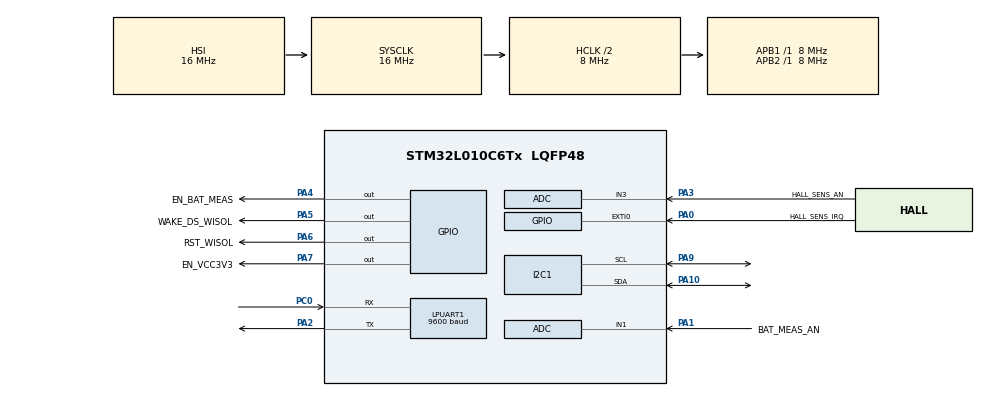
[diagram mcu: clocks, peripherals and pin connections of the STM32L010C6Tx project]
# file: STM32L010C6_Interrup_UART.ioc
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I2C1.Timing=0x2000090E
LPUART1.BaudRate=9600
LPUART1.WordLength=UART_WORDLENGTH_8B
Mcu.Family=STM32L0
Mcu.Name=STM32L010C6Tx
Mcu.Package=LQFP48
NVIC.EXTI0_1_IRQn=true\:0\:0\:false\:false\:true\:true\:true
NVIC.LPUART1_IRQn=true\:0\:0\:false\:false\:true\:true\:true
NVIC.RTC_IRQn=true\:0\:0\:false\:false\:true\:true\:true
PA0.GPIO_Label=HALL_SENS_IRQ
PA0.GPIO_PuPd=GPIO_PULLUP
PA0.Signal=GPXTI0
PA1.GPIO_Label=BAT_MEAS_AN
PA1.Mode=IN1
PA1.Signal=ADC_IN1
PA10.Mode=I2C
PA10.Signal=I2C1_SDA
PA13.Mode=Serial_Wire
PA13.Signal=SYS_SWDIO
PA14.Mode=Serial_Wire
PA14.Signal=SYS_SWCLK
PA2.Mode=Asynchronous
PA2.Signal=LPUART1_TX
PA3.GPIO_Label=HALL_SENS_AN
PA3.Mode=IN3
PA3.Signal=ADC_IN3
PA4.GPIO_Label=EN_BAT_MEAS
PA4.GPIO_ModeDefaultOutputPP=GPIO_MODE_OUTPUT_PP
PA4.GPIO_PuPd=GPIO_PULLUP
PA4.Signal=GPIO_Output
PA5.GPIO_Label=WAKE_DS_WISOL
PA5.GPIO_PuPd=GPIO_PULLUP
PA5.PinState=GPIO_PIN_SET
PA5.Signal=GPIO_Output
PA6.GPIO_Label=RST_WISOL
PA6.GPIO_PuPd=GPIO_PULLUP
PA6.PinState=GPIO_PIN_SET
PA6.Signal=GPIO_Output
PA7.GPIO_Label=EN_VCC3V3
PA7.GPIO_PuPd=GPIO_PULLUP
PA7.Signal=GPIO_Output
PA9.Mode=I2C
PA9.Signal=I2C1_SCL
PC0.Mode=Asynchronous
PC0.Signal=LPUART1_RX
PC14-OSC32_IN.Mode=LSE-External-Oscillator
PC14-OSC32_IN.Signal=RCC_OSC32_IN
PC15-OSC32_OUT.Mode=LSE-External-Oscillator
PC15-OSC32_OUT.Signal=RCC_OSC32_OUT
ProjectManager.HeapSize=0x200
ProjectManager.StackSize=0x400
ProjectManager.TargetToolchain=STM32CubeIDE
RCC.ADCFreq_Value=16000000
RCC.AHBCLKDivider=RCC_SYSCLK_DIV2
RCC.AHBFreq_Value=8000000
RCC.APB1Freq_Value=8000000
RCC.APB1TimFreq_Value=8000000
RCC.APB2Freq_Value=8000000
RCC.APB2TimFreq_Value=8000000
RCC.HCLKFreq_Value=8000000
RCC.HSE_VALUE=8000000
RCC.HSI16_VALUE=16000000
RCC.HSI_VALUE=16000000
RCC.LptimClockSelection=RCC_LPTIM1CLKSOURCE_LSE
RCC.Lpuart1ClockSelection=RCC_LPUART1CLKSOURCE_LSE
RCC.MSI_VALUE=2097000
RCC.RTCClockSelectionVirtual=RCC_RTCCLKSOURCE_LSE
RCC.SYSCLKFreq_VALUE=16000000
RCC.SYSCLKSource=RCC_SYSCLKSOURCE_HSI
RCC.VCOOutputFreq_Value=48000000
RTC.Alarm-Alarm\ A=RTC_ALARM_A
RTC.AlarmMaskDateWeekDay-Alarm\ A=RTC_ALARMMASK_DATEWEEKDAY
RTC.AlarmMaskHours-Alarm\ A=RTC_ALARMMASK_HOURS
VP_RTC_VS_RTC_Activate.Mode=RTC_Enabled
VP_RTC_VS_RTC_Alarm_A_Intern.Mode=Alarm A
VP_RTC_VS_RTC_Calendar.Mode=RTC_Calendar
board=custom

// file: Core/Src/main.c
/* USER CODE BEGIN Header */
/**
  ******************************************************************************
  * @file           : main.c
  * @brief          : Main program body
  ******************************************************************************
  * @attention
  *
  * <h2><center>&copy; Copyright (c) 2020 STMicroelectronics.
  * All rights reserved.</center></h2>
  *
  * This software component is licensed by ST under BSD 3-Clause license,
  * the "License"; You may not use this file except in compliance with the
  * License. You may obtain a copy of the License at:
  *                        opensource.org/licenses/BSD-3-Clause
  *
  ******************************************************************************
  */
/* USER CODE END Header */

#include "main.h"

/* USER CODE BEGIN Includes */
#include <time.h>
#include <stdio.h>
#include <stdlib.h>
#include <string.h>
typedef enum
{
	FALSE=0,
	TRUE=1
	}FLAG_T;
#define SUM_THRD 10
#define DATA_LOCA	5
#define VOLT_LOCA 9
#define VERSION_LOCA 1
int HOUR_EVERY_MSG = 1;
volatile uint8_t SUM_HOUR;
volatile uint8_t SUM_DEC;
volatile uint8_t SUM_COUNTER;
FLAG_T time_flag;
FLAG_T RTC_UPDATE_STATUS;
FLAG_T UART_OK;
#define version 0x01
uint8_t RX_UART_BUFFER[32];
time_t number = 0;
char timeraw[8];
struct tm ts;
RTC_TimeTypeDef sTime;
/* USER CODE END Includes */

ADC_HandleTypeDef hadc;

I2C_HandleTypeDef hi2c1;

UART_HandleTypeDef hlpuart1;

RTC_HandleTypeDef hrtc;

void SystemClock_Config(void);
static void MX_GPIO_Init(void);
static void MX_ADC_Init(void);
static void MX_I2C1_Init(void);
static void MX_LPUART1_UART_Init(void);
static void MX_RTC_Init(void);
/* USER CODE BEGIN PFP */
static void EXT_Interrup_Init(void);
void TRANSMIT_WSSFM10R2AT_WITH_DOWNLINK(char *, int);
void stm32l_lowPowerSetup(void);
void stm32l_lowPowerResume(void);
void UPDATE_FREQUENCY_MESSAGE(void);
void UPDATE_UTC(void);
void UPDATE_RTC_TIME(void);
FLAG_T CHECK_RECEPTION_OK(void);
void DECODED_TIME(void);
void CASES_CHOICE(char*);
void COUNTER_CONSUMER(void);
void TRANSMIT_WSSFM10R2AT(char * , int);
void TRANSMIT_WSSFM10R2AT_WITH_DOWNLINK(char *, int);
uint32_t CONFIG_CHANNEL_ADC(uint32_t);
uint32_t GET_MEAS_BAT(void);
uint32_t GET_MEAS_HALL(void);
void WAKE_WSSFM10R2AT(void);
void RESET_WSSFM10R2AT(void);
void DEEP_SLEEP_WSSFM10R2AT(void);
void DATA_ASSIGMENT(char* ,uint16_t ,uint8_t ,uint8_t );
void BUILD_DATA_TO_SEND(char*);
/////////////////////////
void stm32l_lowPowerSetup(void)
{
	__HAL_RCC_PWR_CLK_ENABLE(); // Enable Power Control clock
	HAL_PWR_EnableBkUpAccess (); //Enable access to the backup domain (RTC registers, RTC backup data registers).
	HAL_PWREx_EnableUltraLowPower(); // Ultra low power mode
	HAL_PWREx_EnableFastWakeUp(); // Fast wake-up for ultra low power mode
	GPIO_InitTypeDef GPIO_InitStructure = {0};

	  /* Enable GPIOs clock */
	__HAL_RCC_GPIOA_CLK_ENABLE();
	__HAL_RCC_GPIOB_CLK_ENABLE();
	__HAL_RCC_GPIOC_CLK_ENABLE();

	GPIO_InitStructure.Pin = GPIO_PIN_4|GPIO_PIN_5|GPIO_PIN_6|GPIO_PIN_7|GPIO_PIN_13|GPIO_PIN_14;
	GPIO_InitStructure.Mode = GPIO_MODE_ANALOG;
	GPIO_InitStructure.Pull = GPIO_NOPULL;

	HAL_GPIO_Init(GPIOA, &GPIO_InitStructure);

	__HAL_PWR_CLEAR_FLAG(PWR_FLAG_WU);
	HAL_SuspendTick();
	HAL_PWR_EnterSTOPMode(PWR_LOWPOWERREGULATOR_ON, PWR_STOPENTRY_WFI);
}
void stm32l_lowPowerResume(void){
	HAL_ResumeTick();
	SystemClock_Config();
}
void UPDATE_FREQUENCY_MESSAGE(void){
	char hora_ref[1];
	hora_ref[0] = RX_UART_BUFFER[22];
	char frequency_msg[2];
	frequency_msg[0] = RX_UART_BUFFER[23];
	frequency_msg[1] = RX_UART_BUFFER[25];
	int freq;
	int HORA;
	freq = (int)strtol(frequency_msg, NULL, 16);
	HORA = (int)strtol(hora_ref, NULL, 16);
	if ((freq > 0) & (freq <= 24)){
		HOUR_EVERY_MSG = freq;
		if (ts.tm_hour >= HORA){
			SUM_HOUR = (ts.tm_hour - HORA) % HOUR_EVERY_MSG;
		}else{
			SUM_HOUR = (ts.tm_hour - HORA + 24) % HOUR_EVERY_MSG;
		}
	}
}
void UPDATE_UTC(void){
	char utc[1];
	utc[0] = RX_UART_BUFFER[20];
	if ((utc[0] >= '0') | (utc[0] < 'D')){
		if (RX_UART_BUFFER[19] == '0'){
			ts.tm_hour += (int)strtol(utc, NULL, 16);
		}else if (RX_UART_BUFFER[19] == '1'){
			ts.tm_hour =ts.tm_hour - (int)strtol(utc, NULL, 16) + 24;
		}
		ts.tm_hour = ts.tm_hour % 24;
	}
}
void UPDATE_RTC_TIME(void){
    sTime.Hours = ts.tm_hour + (int)(ts.tm_hour/10)*6;
    sTime.Minutes = ts.tm_min + (int)(ts.tm_min/10)*6;
    sTime.Seconds = ts.tm_sec + (int)(ts.tm_sec/10)*6;
    sTime.DayLightSaving = RTC_DAYLIGHTSAVING_NONE;
    sTime.StoreOperation = RTC_STOREOPERATION_RESET;
    if (HAL_RTC_SetTime(&hrtc, &sTime, RTC_FORMAT_BCD) != HAL_OK)
    {
      Error_Handler();
    }
}
FLAG_T CHECK_RECEPTION_OK(void){
    int i;
    FLAG_T UART_OK = TRUE;
    for (i=29;i>=7;i-=3){
        if ((RX_UART_BUFFER[i] < '0') | (RX_UART_BUFFER[i] > 'F')){
            UART_OK = FALSE;
        }
        if ((RX_UART_BUFFER[i-1] < '0') | (RX_UART_BUFFER[i-1] > 'F')){
            UART_OK = FALSE;
        }
    }
    return UART_OK;
}
void DECODED_TIME(void){
	  timeraw[0] = RX_UART_BUFFER[7];
	  timeraw[1] = RX_UART_BUFFER[8];
	  timeraw[2] = RX_UART_BUFFER[10];
	  timeraw[3] = RX_UART_BUFFER[11];
	  timeraw[4] = RX_UART_BUFFER[13];
	  timeraw[5] = RX_UART_BUFFER[14];
	  timeraw[6] = RX_UART_BUFFER[16];
	  timeraw[7] = RX_UART_BUFFER[17];
	  number = (time_t)strtol(timeraw, NULL, 16);
	  ts = *localtime(&number);
}
void HAL_RTC_AlarmAEventCallback(RTC_HandleTypeDef *hrtc)
{
  /* Turn LED2 on: Alarm generation */
  if (SUM_HOUR == HOUR_EVERY_MSG - 1){
	 time_flag = TRUE;
	 SUM_HOUR = 0;
  }else{
	 SUM_HOUR++;
  }
}
void HAL_GPIO_EXTI_Callback(uint16_t GPIO_Pin)
{
  /* Clear Wake Up Flag */
  __HAL_PWR_CLEAR_FLAG(PWR_FLAG_WU);
  COUNTER_CONSUMER();
}
void HAL_UART_RxCpltCallback(UART_HandleTypeDef *huart){
	int i;
	UART_OK = TRUE;
	for (i=29;i>=7;i-=3){
	     if ((RX_UART_BUFFER[i] < '0') | (RX_UART_BUFFER[i] > 'F')){
	         UART_OK = FALSE;
	     }
	     if ((RX_UART_BUFFER[i-1] < '0') | (RX_UART_BUFFER[i-1] > 'F')){
	         UART_OK = FALSE;
	     }
	}
	if (CHECK_RECEPTION_OK() == TRUE){
	     DECODED_TIME();
	     UPDATE_UTC();
	     UPDATE_RTC_TIME();
	     UPDATE_FREQUENCY_MESSAGE();
	}
}
/* USER CODE END PFP */

/* USER CODE BEGIN 0 */

void CASES_CHOICE(char* buff)
{
	unsigned int instruction = 0;
	if ((SUM_COUNTER == 0) || (SUM_COUNTER > SUM_THRD) || (time_flag == TRUE)) instruction = 1;
    switch (instruction)
	{
		case 0:
			break;
		case 1:
			MX_GPIO_Init();
			MX_ADC_Init();
			MX_LPUART1_UART_Init();
			HAL_Delay(30);
			if ((SUM_COUNTER==0) || (SUM_COUNTER > SUM_THRD)){
			   SUM_COUNTER = SUM_THRD;
			}else{
			   time_flag = FALSE;
			}
			BUILD_DATA_TO_SEND(buff);
			SUM_DEC=0;
			WAKE_WSSFM10R2AT();
			if (RTC_UPDATE_STATUS == FALSE){
				TRANSMIT_WSSFM10R2AT_WITH_DOWNLINK(buff,10);
				//HAL_Delay(50000);
				RTC_UPDATE_STATUS = TRUE;
			}else{
				TRANSMIT_WSSFM10R2AT(buff,10);
			}
			DEEP_SLEEP_WSSFM10R2AT();
			break;
	}
}
void COUNTER_CONSUMER(void){
	SUM_DEC++;
	SUM_COUNTER--;
}
void TRANSMIT_WSSFM10R2AT(char * buff, int ArrayLength){
	char AT_COMANDO[10];
	sprintf(AT_COMANDO,"AT$RC\r\n");
	HAL_UART_Transmit(&hlpuart1,(uint8_t*)AT_COMANDO,(uint16_t)strlen(AT_COMANDO),(uint32_t)100);
	HAL_Delay(100);
	sprintf(AT_COMANDO,"AT$SF=");
	HAL_UART_Transmit(&hlpuart1,(uint8_t*)AT_COMANDO,(uint16_t)strlen(AT_COMANDO),(uint32_t)100);
    HAL_UART_Transmit(&hlpuart1,(uint8_t*)buff,(uint16_t)ArrayLength,(uint32_t)100);
    sprintf(AT_COMANDO,"\r\n");
    HAL_UART_Transmit(&hlpuart1,(uint8_t*)AT_COMANDO,(uint16_t)strlen(AT_COMANDO),(uint32_t)100);
    HAL_Delay(100);
}
void TRANSMIT_WSSFM10R2AT_WITH_DOWNLINK(char * buff, int ArrayLength)
{
	char AT[21];
	sprintf(AT,"AT$RC\r\n");
	HAL_UART_Transmit(&hlpuart1,(uint8_t*)AT,(uint16_t)strlen(AT),(uint32_t)100);
	HAL_UART_Receive(&hlpuart1, RX_UART_BUFFER, 20, 1000);
	HAL_Delay(100);
	sprintf(AT,"AT$SF=");
	HAL_UART_Transmit(&hlpuart1,(uint8_t*)AT,(uint16_t)strlen(AT),(uint32_t)100);
	HAL_UART_Transmit(&hlpuart1,(uint8_t*)buff,(uint16_t)ArrayLength,(uint32_t)100);
    sprintf(AT,",1\r\n");
    HAL_UART_Transmit(&hlpuart1,(uint8_t*)AT,(uint16_t)strlen(AT),(uint32_t)100);
	HAL_UART_Receive_IT(&hlpuart1, RX_UART_BUFFER, 32);
	HAL_Delay(100);
	UART_WakeUpTypeDef wakeup;
	wakeup.WakeUpEvent=UART_WAKEUP_ON_STARTBIT; // UART_WAKEUP_ON_READDATA_NONEMPTY
	HAL_UARTEx_StopModeWakeUpSourceConfig(&hlpuart1,wakeup);
	__HAL_UART_ENABLE_IT(&hlpuart1, UART_IT_WUF);
	HAL_UARTEx_EnableStopMode(&hlpuart1);
}
uint32_t CONFIG_CHANNEL_ADC(uint32_t channel){
	ADC_ChannelConfTypeDef sConfig;
	sConfig.Channel = channel;
	sConfig.Rank = ADC_RANK_CHANNEL_NUMBER;
	HAL_ADC_ConfigChannel(&hadc, &sConfig);
	uint32_t raw = 0;
	HAL_ADC_Start(&hadc);
	HAL_ADC_PollForConversion(&hadc, 100);
	raw = HAL_ADC_GetValue(&hadc);
	HAL_ADC_Stop(&hadc);
	sConfig.Rank = ADC_RANK_NONE;
	HAL_ADC_ConfigChannel(&hadc, &sConfig);
	return raw;
}
uint32_t GET_MEAS_BAT(void){
	uint32_t bat;
	HAL_GPIO_WritePin(GPIOA, EN_BAT_MEAS_Pin, GPIO_PIN_SET);
	HAL_Delay(50);
	bat = CONFIG_CHANNEL_ADC(ADC_CHANNEL_1)*6200/4095;
	HAL_GPIO_WritePin(GPIOA, EN_BAT_MEAS_Pin, GPIO_PIN_RESET);
	return bat;
}
uint32_t GET_MEAS_HALL(void){
	uint32_t hall;
	HAL_GPIO_WritePin(GPIOA, EN_VCC3V3_Pin, GPIO_PIN_SET);
	HAL_Delay(50);
	hall = CONFIG_CHANNEL_ADC(ADC_CHANNEL_3)*3100/4095;
	HAL_GPIO_WritePin(GPIOA, EN_VCC3V3_Pin, GPIO_PIN_RESET);
	return hall;
}
void WAKE_WSSFM10R2AT(void)
{
	HAL_GPIO_WritePin(WAKE_DS_WISOL_GPIO_Port, WAKE_DS_WISOL_Pin, GPIO_PIN_RESET);
	HAL_Delay(100);
	HAL_GPIO_WritePin(WAKE_DS_WISOL_GPIO_Port, WAKE_DS_WISOL_Pin, GPIO_PIN_SET);
	HAL_Delay(500);  // Wait for the wisol to be prepared
}
void RESET_WSSFM10R2AT(void)
{
	HAL_GPIO_WritePin(RST_WISOL_GPIO_Port, RST_WISOL_Pin, GPIO_PIN_RESET);
	HAL_Delay(500);
	HAL_GPIO_WritePin(RST_WISOL_GPIO_Port, RST_WISOL_Pin, GPIO_PIN_SET);
}
void DEEP_SLEEP_WSSFM10R2AT(void)
{
	char AT[10];
	sprintf(AT,"AT$P=2\r\n");
	HAL_UART_Transmit(&hlpuart1,(uint8_t*)AT,(uint16_t)strlen(AT),(uint32_t)100);
	HAL_Delay(100);
}
void DATA_ASSIGMENT(char* buff,uint16_t s,uint8_t loc,uint8_t t)
{
	uint8_t i;//Data position counter
	uint8_t j=0;//Conversion data position counter
	uint8_t dig_count=0;//Digit Counter
	char conversion_buff[5];
	memset(conversion_buff,'\0',5);
	itoa(s,conversion_buff,t);//Convert int S to String in HEX
	while(conversion_buff[dig_count] != '\0') ++dig_count;//Converted data digit counter function

	for (i = (loc-dig_count)+1; j < dig_count; ++i)//Data arrangement in output buffer
	{
		 buff[i] = conversion_buff[j];
		 ++j;
	}
}
void BUILD_DATA_TO_SEND(char* buff)
{
	memset(buff,'0',10); //Clear memory variable
	DATA_ASSIGMENT(buff,GET_MEAS_BAT(),VOLT_LOCA,16);
	DATA_ASSIGMENT(buff,SUM_DEC,DATA_LOCA,16);
	DATA_ASSIGMENT(buff,version,VERSION_LOCA,16);
}
/* USER CODE END PFP */

/* Private user code ---------------------------------------------------------*/
/* USER CODE BEGIN 0 */

/* USER CODE END 0 */

int main(void)
{
  /* USER CODE BEGIN 1 */
  char data_buff[10];
  SUM_DEC=0;
  SUM_HOUR=0;
  /* USER CODE END 1 */

  /* MCU Configuration--------------------------------------------------------*/

  /* Reset of all peripherals, Initializes the Flash interface and the Systick. */
  HAL_Init();

  /* Configure the system clock */
  SystemClock_Config();

  /* Initialize all configured peripherals */
  MX_GPIO_Init();
  MX_ADC_Init();
  MX_I2C1_Init();
  MX_LPUART1_UART_Init();
  MX_RTC_Init();
  /* USER CODE BEGIN 2 */
  SUM_COUNTER=0;
  RTC_UPDATE_STATUS = FALSE;
  EXT_Interrup_Init();
  HAL_Delay(2000);
  /* USER CODE END 2 */

  /* Infinite loop */
  while (1)
  {
    CASES_CHOICE(data_buff);
    HAL_Delay(50);
	stm32l_lowPowerSetup();
	stm32l_lowPowerResume();
  }
}

void SystemClock_Config(void)
{
  RCC_OscInitTypeDef RCC_OscInitStruct = {0};
  RCC_ClkInitTypeDef RCC_ClkInitStruct = {0};
  RCC_PeriphCLKInitTypeDef PeriphClkInit = {0};

  /** Configure the main internal regulator output voltage
  */
  __HAL_PWR_VOLTAGESCALING_CONFIG(PWR_REGULATOR_VOLTAGE_SCALE1);
  /** Configure LSE Drive Capability
  */
  HAL_PWR_EnableBkUpAccess();
  __HAL_RCC_LSEDRIVE_CONFIG(RCC_LSEDRIVE_LOW);
  /** Initializes the CPU, AHB and APB busses clocks
  */
  RCC_OscInitStruct.OscillatorType = RCC_OSCILLATORTYPE_HSI|RCC_OSCILLATORTYPE_LSE;
  RCC_OscInitStruct.LSEState = RCC_LSE_ON;
  RCC_OscInitStruct.HSIState = RCC_HSI_ON;
  RCC_OscInitStruct.HSICalibrationValue = RCC_HSICALIBRATION_DEFAULT;
  RCC_OscInitStruct.PLL.PLLState = RCC_PLL_NONE;
  if (HAL_RCC_OscConfig(&RCC_OscInitStruct) != HAL_OK)
  {
    Error_Handler();
  }
  /** Initializes the CPU, AHB and APB busses clocks
  */
  RCC_ClkInitStruct.ClockType = RCC_CLOCKTYPE_HCLK|RCC_CLOCKTYPE_SYSCLK
                              |RCC_CLOCKTYPE_PCLK1|RCC_CLOCKTYPE_PCLK2;
  RCC_ClkInitStruct.SYSCLKSource = RCC_SYSCLKSOURCE_HSI;
  RCC_ClkInitStruct.AHBCLKDivider = RCC_SYSCLK_DIV2;
  RCC_ClkInitStruct.APB1CLKDivider = RCC_HCLK_DIV1;
  RCC_ClkInitStruct.APB2CLKDivider = RCC_HCLK_DIV1;

  if (HAL_RCC_ClockConfig(&RCC_ClkInitStruct, FLASH_LATENCY_0) != HAL_OK)
  {
    Error_Handler();
  }
  PeriphClkInit.PeriphClockSelection = RCC_PERIPHCLK_LPUART1|RCC_PERIPHCLK_I2C1
                              |RCC_PERIPHCLK_RTC;
  PeriphClkInit.Lpuart1ClockSelection = RCC_LPUART1CLKSOURCE_LSE;
  PeriphClkInit.I2c1ClockSelection = RCC_I2C1CLKSOURCE_PCLK1;
  PeriphClkInit.RTCClockSelection = RCC_RTCCLKSOURCE_LSE;
  if (HAL_RCCEx_PeriphCLKConfig(&PeriphClkInit) != HAL_OK)
  {
    Error_Handler();
  }
}

static void MX_ADC_Init(void)
{

  ADC_ChannelConfTypeDef sConfig = {0};

  /** Configure the global features of the ADC (Clock, Resolution, Data Alignment and number of conversion)
  */
  hadc.Instance = ADC1;
  hadc.Init.OversamplingMode = DISABLE;
  hadc.Init.ClockPrescaler = ADC_CLOCK_SYNC_PCLK_DIV2;
  hadc.Init.Resolution = ADC_RESOLUTION_12B;
  hadc.Init.SamplingTime = ADC_SAMPLETIME_1CYCLE_5;
  hadc.Init.ScanConvMode = ADC_SCAN_DIRECTION_FORWARD;
  hadc.Init.DataAlign = ADC_DATAALIGN_RIGHT;
  hadc.Init.ContinuousConvMode = DISABLE;
  hadc.Init.DiscontinuousConvMode = DISABLE;
  hadc.Init.ExternalTrigConvEdge = ADC_EXTERNALTRIGCONVEDGE_NONE;
  hadc.Init.ExternalTrigConv = ADC_SOFTWARE_START;
  hadc.Init.DMAContinuousRequests = DISABLE;
  hadc.Init.EOCSelection = ADC_EOC_SINGLE_CONV;
  hadc.Init.Overrun = ADC_OVR_DATA_PRESERVED;
  hadc.Init.LowPowerAutoWait = DISABLE;
  hadc.Init.LowPowerFrequencyMode = DISABLE;
  hadc.Init.LowPowerAutoPowerOff = DISABLE;
  if (HAL_ADC_Init(&hadc) != HAL_OK)
  {
    Error_Handler();
  }
  /** Configure for the selected ADC regular channel to be converted.
  */
  sConfig.Channel = ADC_CHANNEL_1;
  sConfig.Rank = ADC_RANK_CHANNEL_NUMBER;
  if (HAL_ADC_ConfigChannel(&hadc, &sConfig) != HAL_OK)
  {
    Error_Handler();
  }
  /** Configure for the selected ADC regular channel to be converted.
  */
  sConfig.Channel = ADC_CHANNEL_3;
  if (HAL_ADC_ConfigChannel(&hadc, &sConfig) != HAL_OK)
  {
    Error_Handler();
  }

}

static void MX_I2C1_Init(void)
{

  hi2c1.Instance = I2C1;
  hi2c1.Init.Timing = 0x2000090E;
  hi2c1.Init.OwnAddress1 = 0;
  hi2c1.Init.AddressingMode = I2C_ADDRESSINGMODE_7BIT;
  hi2c1.Init.DualAddressMode = I2C_DUALADDRESS_DISABLE;
  hi2c1.Init.OwnAddress2 = 0;
  hi2c1.Init.OwnAddress2Masks = I2C_OA2_NOMASK;
  hi2c1.Init.GeneralCallMode = I2C_GENERALCALL_DISABLE;
  hi2c1.Init.NoStretchMode = I2C_NOSTRETCH_DISABLE;
  if (HAL_I2C_Init(&hi2c1) != HAL_OK)
  {
    Error_Handler();
  }
  /** Configure Analogue filter
  */
  if (HAL_I2CEx_ConfigAnalogFilter(&hi2c1, I2C_ANALOGFILTER_ENABLE) != HAL_OK)
  {
    Error_Handler();
  }
  /** Configure Digital filter
  */
  if (HAL_I2CEx_ConfigDigitalFilter(&hi2c1, 0) != HAL_OK)
  {
    Error_Handler();
  }

}

static void MX_LPUART1_UART_Init(void)
{

  hlpuart1.Instance = LPUART1;
  hlpuart1.Init.BaudRate = 9600;
  hlpuart1.Init.WordLength = UART_WORDLENGTH_8B;
  hlpuart1.Init.StopBits = UART_STOPBITS_1;
  hlpuart1.Init.Parity = UART_PARITY_NONE;
  hlpuart1.Init.Mode = UART_MODE_TX_RX;
  hlpuart1.Init.HwFlowCtl = UART_HWCONTROL_NONE;
  hlpuart1.Init.OneBitSampling = UART_ONE_BIT_SAMPLE_DISABLE;
  hlpuart1.AdvancedInit.AdvFeatureInit = UART_ADVFEATURE_NO_INIT;
  if (HAL_UART_Init(&hlpuart1) != HAL_OK)
  {
    Error_Handler();
  }

}

static void MX_RTC_Init(void)
{

  RTC_TimeTypeDef sTime = {0};
  RTC_DateTypeDef sDate = {0};
  RTC_AlarmTypeDef sAlarm = {0};

  /** Initialize RTC Only
  */
  hrtc.Instance = RTC;
  hrtc.Init.HourFormat = RTC_HOURFORMAT_24;
  hrtc.Init.AsynchPrediv = 127;
  hrtc.Init.SynchPrediv = 255;
  hrtc.Init.OutPut = RTC_OUTPUT_DISABLE;
  hrtc.Init.OutPutRemap = RTC_OUTPUT_REMAP_NONE;
  hrtc.Init.OutPutPolarity = RTC_OUTPUT_POLARITY_HIGH;
  hrtc.Init.OutPutType = RTC_OUTPUT_TYPE_OPENDRAIN;
  if (HAL_RTC_Init(&hrtc) != HAL_OK)
  {
    Error_Handler();
  }

  /** Initialize RTC and set the Time and Date
  */
  sTime.Hours = 0x0;
  sTime.Minutes = 0x0;
  sTime.Seconds = 0x0;
  sTime.DayLightSaving = RTC_DAYLIGHTSAVING_NONE;
  sTime.StoreOperation = RTC_STOREOPERATION_RESET;
  if (HAL_RTC_SetTime(&hrtc, &sTime, RTC_FORMAT_BCD) != HAL_OK)
  {
    Error_Handler();
  }
  sDate.WeekDay = RTC_WEEKDAY_MONDAY;
  sDate.Month = RTC_MONTH_JANUARY;
  sDate.Date = 0x1;
  sDate.Year = 0x0;

  if (HAL_RTC_SetDate(&hrtc, &sDate, RTC_FORMAT_BCD) != HAL_OK)
  {
    Error_Handler();
  }
  /** Enable the Alarm A
  */
  sAlarm.AlarmTime.Hours = 0x0;
  sAlarm.AlarmTime.Minutes = 0x0;
  sAlarm.AlarmTime.Seconds = 0x0;
  sAlarm.AlarmTime.SubSeconds = 0x0;
  sAlarm.AlarmTime.DayLightSaving = RTC_DAYLIGHTSAVING_NONE;
  sAlarm.AlarmTime.StoreOperation = RTC_STOREOPERATION_RESET;
  sAlarm.AlarmMask = RTC_ALARMMASK_DATEWEEKDAY|RTC_ALARMMASK_HOURS;
  sAlarm.AlarmSubSecondMask = RTC_ALARMSUBSECONDMASK_ALL;
  sAlarm.AlarmDateWeekDaySel = RTC_ALARMDATEWEEKDAYSEL_DATE;
  sAlarm.AlarmDateWeekDay = 0x1;
  sAlarm.Alarm = RTC_ALARM_A;
  if (HAL_RTC_SetAlarm_IT(&hrtc, &sAlarm, RTC_FORMAT_BCD) != HAL_OK)
  {
    Error_Handler();
  }

}

static void MX_GPIO_Init(void)
{
  GPIO_InitTypeDef GPIO_InitStruct = {0};

  /* GPIO Ports Clock Enable */
  __HAL_RCC_GPIOC_CLK_ENABLE();
  __HAL_RCC_GPIOA_CLK_ENABLE();

  /*Configure GPIO pin Output Level */
  HAL_GPIO_WritePin(GPIOA, EN_BAT_MEAS_Pin|EN_VCC3V3_Pin, GPIO_PIN_RESET);

  /*Configure GPIO pin Output Level */
  HAL_GPIO_WritePin(GPIOA, WAKE_DS_WISOL_Pin|RST_WISOL_Pin, GPIO_PIN_SET);

  /*Configure GPIO pins : EN_BAT_MEAS_Pin EN_VCC3V3s_Pin */
  GPIO_InitStruct.Pin = EN_BAT_MEAS_Pin|EN_VCC3V3_Pin;
  GPIO_InitStruct.Mode = GPIO_MODE_OUTPUT_PP;
  GPIO_InitStruct.Pull = GPIO_PULLUP;
  GPIO_InitStruct.Speed = GPIO_SPEED_FREQ_LOW;
  HAL_GPIO_Init(GPIOA, &GPIO_InitStruct);

  /*Configure GPIO pins : WAKE_DS_WISOL_Pin RST_WISOL_Pin */
  GPIO_InitStruct.Pin = WAKE_DS_WISOL_Pin|RST_WISOL_Pin;
  GPIO_InitStruct.Mode = GPIO_MODE_OUTPUT_PP;
  GPIO_InitStruct.Pull = GPIO_PULLUP;
  GPIO_InitStruct.Speed = GPIO_SPEED_FREQ_LOW;
  HAL_GPIO_Init(GPIOA, &GPIO_InitStruct);
}

static void EXT_Interrup_Init(void){
    GPIO_InitTypeDef GPIO_InitStruct = {0};

     /*Configure GPIO pin : HALL_SENS_IRQ_Pin */
    GPIO_InitStruct.Pin = HALL_SENS_IRQ_Pin;
    GPIO_InitStruct.Mode = GPIO_MODE_IT_RISING;
    GPIO_InitStruct.Pull = GPIO_PULLUP;

    __HAL_RCC_GPIOA_CLK_ENABLE();

    HAL_GPIO_Init(HALL_SENS_IRQ_GPIO_Port, &GPIO_InitStruct);

    __HAL_GPIO_EXTI_CLEAR_FLAG(GPIO_PIN_0);
    HAL_NVIC_SetPriority(EXTI0_1_IRQn, 0, 0);
    HAL_NVIC_EnableIRQ(EXTI0_1_IRQn);
}

void Error_Handler(void)
{
}

/************************ (C) COPYRIGHT STMicroelectronics *****END OF FILE****/
